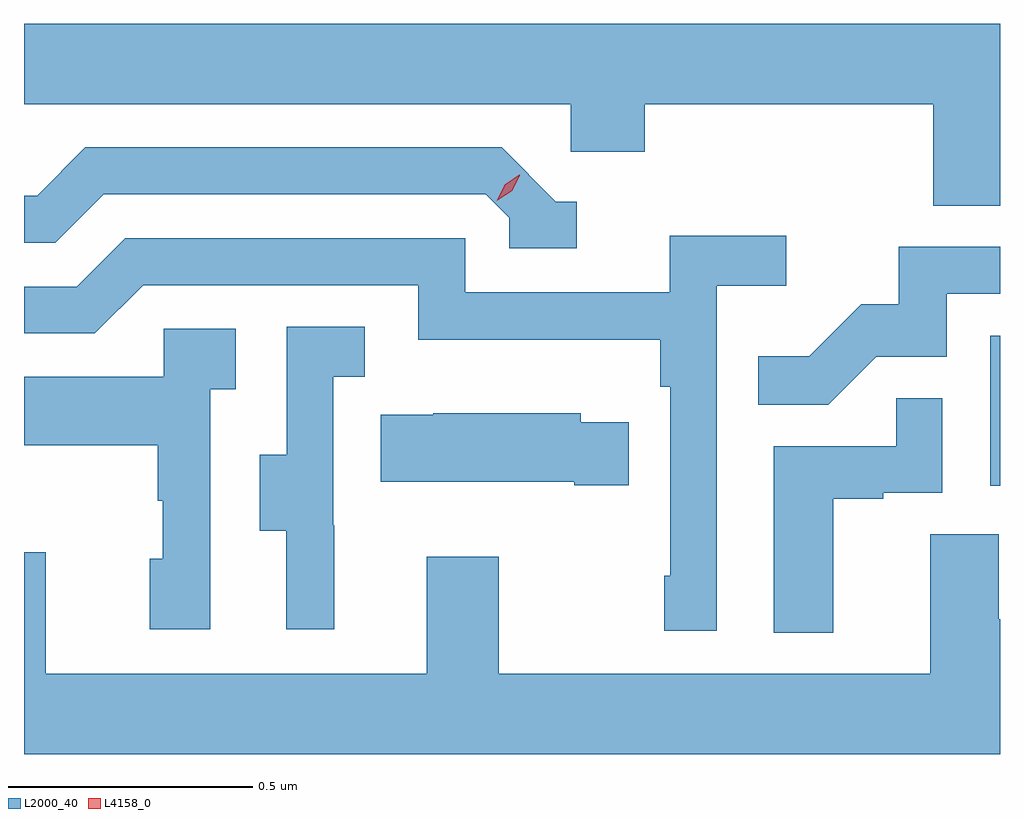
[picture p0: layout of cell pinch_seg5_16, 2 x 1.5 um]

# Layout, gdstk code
import gdstk
lib = gdstk.Library(unit=1e-6, precision=1e-09)
def R(c, l, rs):  # rectangles x0, y0, x1, y1
    for r in rs: c.add(gdstk.rectangle(r[:2], r[2:], *l))
def P(c, l, *ps):  # polygons
    for p in ps: c.add(gdstk.Polygon(p, *l))
L2000_40 = (2000, 40)
L4158_0 = (4158, 0)

pinch_seg5_16 = lib.new_cell('pinch_seg5_16')
R(pinch_seg5_16, L2000_40, [(1141.94,905.262,1141.96,905.569)])
P(pinch_seg5_16, L2000_40, [(1141.96,906.208),(1139.96,906.208),(1139.96,906.044),(1141.08,906.044),(1141.08,905.946),(1141.232,905.946),(1141.232,906.044),(1141.823,906.044),(1141.823,905.836),(1141.96,905.836)],
  [(1141.093,905.844),(1141.05,905.844),(1140.939,905.955),(1140.086,905.955),(1139.987,905.856),(1139.96,905.856),(1139.96,905.76),(1140.024,905.76),(1140.123,905.859),(1140.906,905.859),(1140.954,905.811),(1140.954,905.748),(1141.093,905.748)],
  [(1141.38,905.672),(1141.522,905.672),(1141.522,905.774),(1141.283,905.774),(1141.283,905.658),(1140.864,905.658),(1140.864,905.769),(1140.167,905.769),(1140.068,905.67),(1139.96,905.67),(1139.96,905.574),(1140.105,905.574),(1140.204,905.673),(1140.768,905.673),(1140.768,905.561),(1141.264,905.561),(1141.264,905.465),(1141.284,905.465),(1141.284,905.077),(1141.272,905.077),(1141.272,904.965),(1141.38,904.965)],
  [(1141.706,905.526),(1141.851,905.526),(1141.851,905.655),(1141.96,905.655),(1141.96,905.751),(1141.753,905.751),(1141.753,905.634),(1141.676,905.634),(1141.569,905.527),(1141.465,905.527),(1141.465,905.428),(1141.608,905.428)],
  [(1140.596,905.181),(1140.594,905.181),(1140.594,905.485),(1140.658,905.485),(1140.658,905.588),(1140.498,905.588),(1140.498,905.325),(1140.443,905.325),(1140.443,905.17),(1140.497,905.17),(1140.497,904.968),(1140.596,904.968)],
  [(1140.342,905.459),(1140.394,905.459),(1140.394,905.583),(1140.246,905.583),(1140.246,905.485),(1139.96,905.485),(1139.96,905.345),(1140.234,905.345),(1140.234,905.231),(1140.244,905.231),(1140.244,905.112),(1140.218,905.112),(1140.218,904.968),(1140.342,904.968)],
  [(1141.618,905.235),(1141.721,905.235),(1141.721,905.247),(1141.842,905.247),(1141.842,905.441),(1141.747,905.441),(1141.747,905.343),(1141.496,905.343),(1141.496,904.961),(1141.618,904.961)],
  [(1141.199,905.392),(1141.101,905.392),(1141.101,905.41),(1140.799,905.41),(1140.799,905.407),(1140.691,905.407),(1140.691,905.27),(1141.088,905.27),(1141.088,905.263),(1141.199,905.263)],
  [(1141.96,904.988),(1141.957,904.988),(1141.957,905.162),(1141.817,905.162),(1141.817,904.876),(1140.933,904.876),(1140.933,905.116),(1140.785,905.116),(1140.785,904.876),(1140.005,904.876),(1140.005,905.125),(1139.96,905.125),(1139.96,904.712),(1141.96,904.712)])
P(pinch_seg5_16, L4158_0, [(1140.929,905.846),(1140.929,905.846),(1140.945,905.879),(1140.975,905.899),(1140.976,905.899),(1140.976,905.898),(1140.96,905.866),(1140.929,905.846)])

lib.write_gds('pinch_seg5_16.gds')
